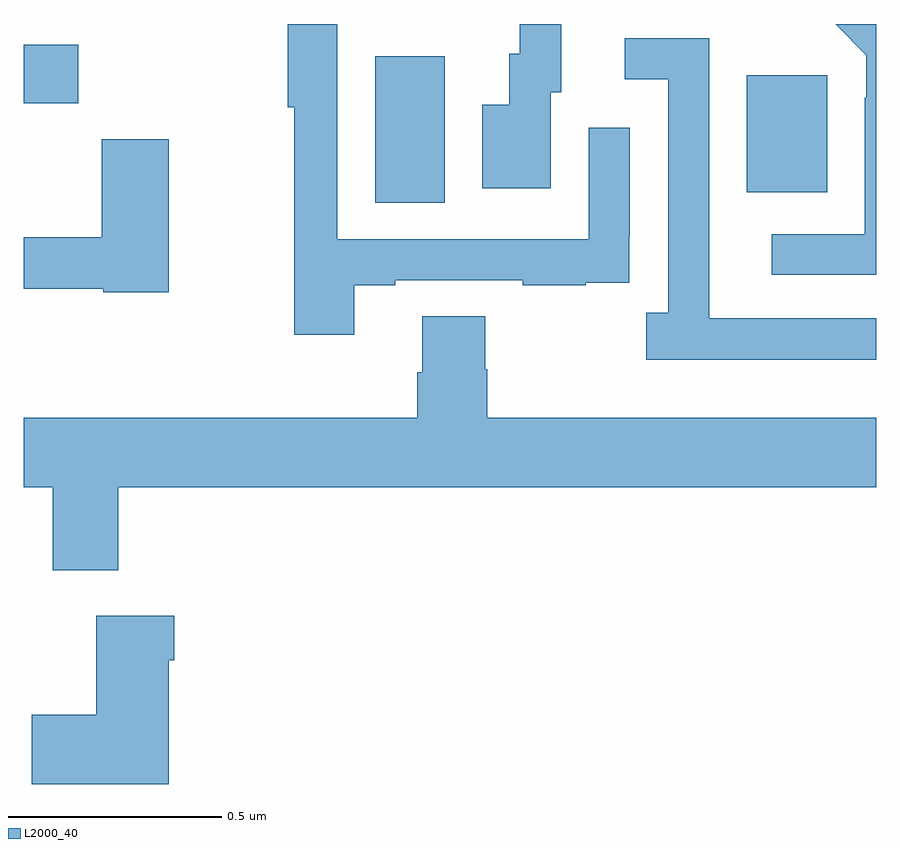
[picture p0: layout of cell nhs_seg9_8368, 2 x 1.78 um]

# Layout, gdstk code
import gdstk
lib = gdstk.Library(unit=1e-6, precision=1e-09)
def R(c, l, rs):  # rectangles x0, y0, x1, y1
    for r in rs: c.add(gdstk.rectangle(r[:2], r[2:], *l))
def P(c, l, *ps):  # polygons
    for p in ps: c.add(gdstk.Polygon(p, *l))
L2000_40 = (2000, 40)

nhs_seg9_8368 = lib.new_cell('nhs_seg9_8368')
R(nhs_seg9_8368, L2000_40, [(216.824,1205.08,216.988,1205.424), (217.697,1205.105,217.885,1205.38), (216,1205.314,216.127,1205.451)])
P(nhs_seg9_8368, L2000_40, [(217.237,1205.34),(217.261,1205.34),(217.261,1205.5),(217.164,1205.5),(217.164,1205.43),(217.139,1205.43),(217.139,1205.311),(217.076,1205.311),(217.076,1205.115),(217.237,1205.115)],
  [(218,1205.5),(217.905,1205.5),(217.977,1205.427),(217.977,1205.327),(217.974,1205.327),(217.974,1205.007),(217.755,1205.007),(217.755,1204.911),(218,1204.911)],
  [(216.775,1204.887),(216.871,1204.887),(216.871,1204.899),(217.171,1204.899),(217.171,1204.887),(217.319,1204.887),(217.319,1204.893),(217.421,1204.893),(217.421,1205.002),(217.422,1205.002),(217.422,1205.257),(217.326,1205.257),(217.326,1204.995),(216.735,1204.995),(216.735,1205.5),(216.619,1205.5),(216.619,1205.304),(216.634,1205.304),(216.634,1204.77),(216.775,1204.77)],
  [(218,1204.809),(217.609,1204.809),(217.609,1205.009),(217.608,1205.009),(217.608,1205.466),(217.41,1205.466),(217.41,1205.37),(217.512,1205.37),(217.512,1204.822),(217.461,1204.822),(217.461,1204.712),(218,1204.712)],
  [(216.34,1205.23),(216.182,1205.23),(216.182,1204.999),(216,1204.999),(216,1204.878),(216.186,1204.878),(216.186,1204.87),(216.34,1204.87)],
  [(217.083,1204.689),(217.083,1204.814),(216.935,1204.814),(216.935,1204.682),(216.923,1204.682),(216.923,1204.576),(216,1204.576),(216,1204.412),(216.068,1204.412),(216.068,1204.218),(216.221,1204.218),(216.221,1204.412),(218,1204.412),(218,1204.576),(217.088,1204.576),(217.088,1204.689)],
  [(216.34,1204.007),(216.353,1204.007),(216.353,1204.111),(216.17,1204.111),(216.17,1203.879),(216.018,1203.879),(216.018,1203.716),(216.34,1203.716)])

lib.write_gds('nhs_seg9_8368.gds')
